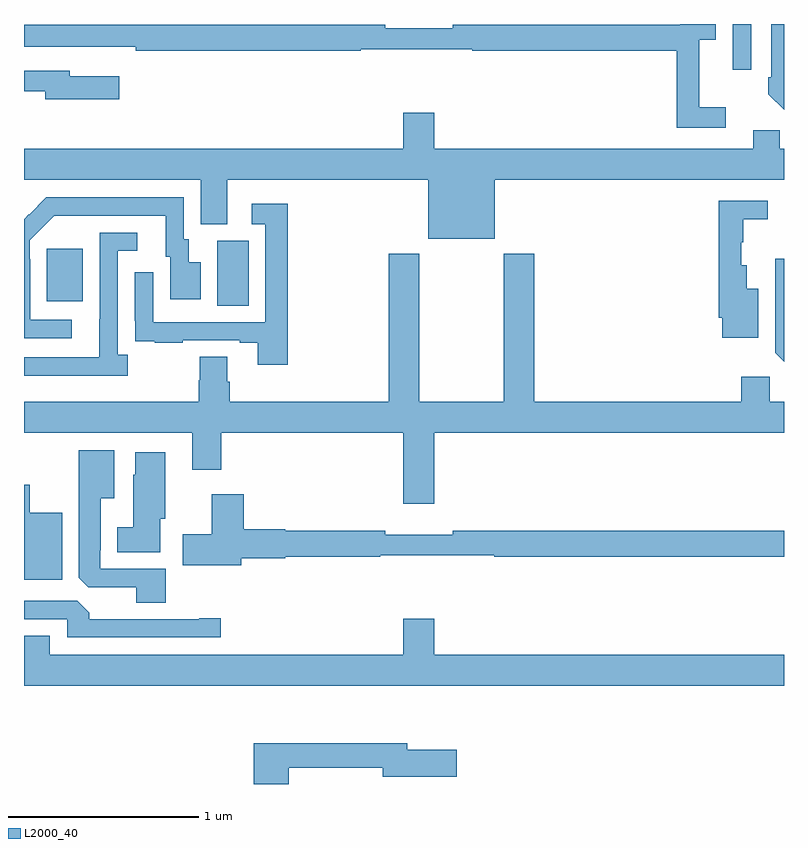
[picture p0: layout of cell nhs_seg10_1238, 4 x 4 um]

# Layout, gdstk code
import gdstk
lib = gdstk.Library(unit=1e-6, precision=1e-09)
def R(c, l, rs):  # rectangles x0, y0, x1, y1
    for r in rs: c.add(gdstk.rectangle(r[:2], r[2:], *l))
def P(c, l, *ps):  # polygons
    for p in ps: c.add(gdstk.Polygon(p, *l))
L2000_40 = (2000, 40)

nhs_seg10_1238 = lib.new_cell('nhs_seg10_1238')
R(nhs_seg10_1238, L2000_40, [(176.018,1269.016,176.182,1269.36), (175.121,1269.041,175.309,1269.316), (178.731,1270.26,178.827,1270.5)])
P(nhs_seg10_1238, L2000_40, [(179,1270.5),(178.932,1270.5),(178.932,1270.219),(178.917,1270.219),(178.917,1270.131),(179,1270.048)],
  [(178.693,1270.063),(178.553,1270.063),(178.553,1270.418),(178.642,1270.418),(178.642,1270.5),(178.455,1270.5),(178.455,1270.496),(177.256,1270.496),(177.256,1270.477),(176.9,1270.477),(176.9,1270.496),(175,1270.496),(175,1270.38),(175.336,1270.38),(175.336,1270.379),(175.588,1270.379),(175.588,1270.36),(176.773,1270.36),(176.773,1270.368),(177.358,1270.368),(177.358,1270.36),(178.435,1270.36),(178.435,1269.954),(178.693,1269.954)],
  [(175.501,1270.225),(175.24,1270.225),(175.24,1270.254),(175,1270.254),(175,1270.146),(175.112,1270.146),(175.112,1270.103),(175.501,1270.103)],
  [(177.478,1269.68),(179,1269.68),(179,1269.844),(178.977,1269.844),(178.977,1269.942),(178.838,1269.942),(178.838,1269.844),(177.16,1269.844),(177.16,1270.033),(176.996,1270.033),(176.996,1269.844),(175,1269.844),(175,1269.68),(175.931,1269.68),(175.931,1269.445),(176.071,1269.445),(176.071,1269.68),(177.128,1269.68),(177.128,1269.371),(177.478,1269.371)],
  [(175.252,1268.943),(175.032,1268.943),(175.032,1269.263),(175.029,1269.263),(175.029,1269.363),(175.158,1269.492),(175.745,1269.492),(175.745,1269.276),(175.769,1269.276),(175.769,1269.051),(175.93,1269.051),(175.93,1269.247),(175.867,1269.247),(175.867,1269.366),(175.842,1269.366),(175.842,1269.588),(175.118,1269.588),(175.027,1269.497),(175.026,1269.498),(175,1269.472),(175,1268.847),(175.252,1268.847)],
  [(178.864,1269.106),(178.804,1269.106),(178.804,1269.229),(178.775,1269.229),(178.775,1269.351),(178.786,1269.351),(178.786,1269.472),(178.915,1269.472),(178.915,1269.57),(178.657,1269.57),(178.657,1268.953),(178.676,1268.953),(178.676,1268.849),(178.864,1268.849)],
  [(176.387,1269.553),(176.199,1269.553),(176.199,1269.447),(176.271,1269.447),(176.271,1268.931),(175.68,1268.931),(175.68,1269.193),(175.584,1269.193),(175.584,1268.938),(175.585,1268.938),(175.585,1268.829),(175.687,1268.829),(175.687,1268.823),(175.835,1268.823),(175.835,1268.835),(176.135,1268.835),(176.135,1268.823),(176.231,1268.823),(176.231,1268.706),(176.387,1268.706)],
  [(175.546,1268.758),(175.494,1268.758),(175.494,1269.306),(175.597,1269.306),(175.597,1269.402),(175.398,1269.402),(175.398,1268.945),(175.397,1268.945),(175.397,1268.745),(175,1268.745),(175,1268.648),(175.546,1268.648)],
  [(177.16,1268.348),(179,1268.348),(179,1268.512),(178.926,1268.512),(178.926,1268.644),(178.775,1268.644),(178.775,1268.512),(177.686,1268.512),(177.686,1269.292),(177.526,1269.292),(177.526,1268.512),(177.081,1268.512),(177.081,1269.292),(176.921,1269.292),(176.921,1268.512),(176.084,1268.512),(176.084,1268.618),(176.071,1268.618),(176.071,1268.75),(175.924,1268.75),(175.924,1268.625),(175.919,1268.625),(175.919,1268.512),(175,1268.512),(175,1268.348),(175.886,1268.348),(175.886,1268.154),(176.039,1268.154),(176.039,1268.348),(176.996,1268.348),(176.996,1267.974),(177.16,1267.974)],
  [(179,1269.265),(178.953,1269.265),(178.953,1268.769),(179,1268.722)],
  [(175.745,1267.632),(175.401,1267.632),(175.401,1267.729),(175.405,1267.729),(175.405,1268.003),(175.474,1268.003),(175.474,1268.257),(175.289,1268.257),(175.289,1267.585),(175.338,1267.536),(175.592,1267.536),(175.592,1267.453),(175.745,1267.453)],
  [(175.717,1267.896),(175.744,1267.896),(175.744,1268.245),(175.586,1268.245),(175.586,1268.127),(175.574,1268.127),(175.574,1267.852),(175.49,1267.852),(175.49,1267.721),(175.717,1267.721)],
  [(175.201,1267.927),(175.03,1267.927),(175.03,1268.074),(175,1268.074),(175,1267.574),(175.201,1267.574)],
  [(176.143,1267.688),(176.376,1267.688),(176.376,1267.696),(176.876,1267.696),(176.876,1267.704),(177.476,1267.704),(177.476,1267.696),(179,1267.696),(179,1267.832),(177.256,1267.832),(177.256,1267.813),(176.9,1267.813),(176.9,1267.832),(176.376,1267.832),(176.376,1267.84),(176.156,1267.84),(176.156,1268.026),(175.988,1268.026),(175.988,1267.815),(175.836,1267.815),(175.836,1267.652),(176.143,1267.652)],
  [(176.035,1267.373),(175.922,1267.373),(175.922,1267.368),(175.343,1267.368),(175.343,1267.402),(175.281,1267.464),(175,1267.464),(175,1267.368),(175.227,1267.368),(175.227,1267.272),(176.035,1267.272)],
  [(179,1267.18),(177.16,1267.18),(177.16,1267.369),(176.996,1267.369),(176.996,1267.18),(175.135,1267.18),(175.135,1267.279),(175,1267.279),(175,1267.016),(179,1267.016)],
  [(176.393,1266.586),(176.888,1266.586),(176.888,1266.539),(177.277,1266.539),(177.277,1266.681),(177.016,1266.681),(177.016,1266.715),(176.21,1266.715),(176.21,1266.5),(176.393,1266.5)])

lib.write_gds('nhs_seg10_1238.gds')
